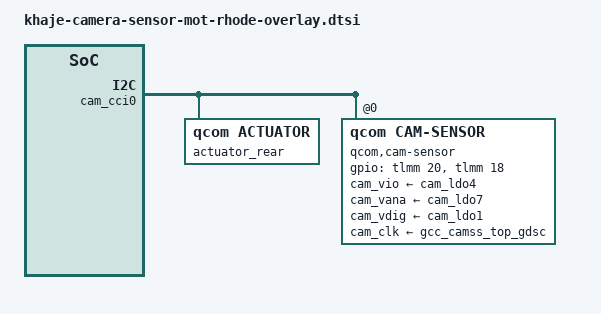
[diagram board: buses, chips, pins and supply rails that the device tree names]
#include <dt-bindings/clock/qcom,gcc-khaje.h>
#include <dt-bindings/msm/msm-camera.h>

&tlmm {
	cam_sensor_mclk0_active: cam_sensor_mclk0_active {
		/* MCLK 0*/
		mux {
			pins = "gpio20";
			function = "cam_mclk";
		};

		config {
			pins = "gpio20";
			bias-disable;
			drive-strength = <2>;
		};
	};

	cam_sensor_mclk0_suspend: cam_sensor_mclk0_suspend {
		/* MCLK 0*/
		mux {
			pins = "gpio20";
			function = "cam_mclk";
		};

		config {
			pins = "gpio20";
			bias-pull-down;
			drive-strength = <2>;
		};
	};

	cam_sensor_mclk1_active: cam_sensor_mclk1_active {
		mux {
			pins = "gpio21";
			function = "cam_mclk";
		};

		config {
			pins = "gpio21";
			bias-disable; /* No PULL */
			drive-strength = <2>; /* 2 MA */
		};
	};

	cam_sensor_mclk1_suspend: cam_sensor_mclk1_suspend {
		mux {
			pins = "gpio21";
			function = "cam_mclk";
		};

		config {
			pins = "gpio21";
			bias-pull-down;
			drive-strength = <2>; /* 2 MA */
		};
	};

	cam_sensor_mclk2_active: cam_sensor_mclk2_active {
		mux {
			pins = "gpio27";
			function = "cam_mclk";
		};

		config {
			pins = "gpio27";
			bias-disable;
			drive-strength = <2>;
		};
	};

	cam_sensor_mclk2_suspend: cam_sensor_mclk2_suspend {
		mux {
			pins = "gpio27";
			function = "cam_mclk";
		};

		config {
			pins = "gpio27";
			bias-pull-down;
			drive-strength = <2>;
		};
	};

	cam_sensor_mclk3_active: cam_sensor_mclk3_active {
		/* MCLK 3*/
		mux {
			pins = "gpio28";
			function = "cam_mclk";
		};

		config {
			pins = "gpio28";
			bias-disable;
			drive-strength = <2>;
		};
	};

	cam_sensor_mclk3_suspend: cam_sensor_mclk3_suspend {
		/* MCLK 3*/
		mux {
			pins = "gpio28";
			function = "cam_mclk";
		};

		config {
			pins = "gpio28";
			bias-pull-down;
			drive-strength = <2>;
		};
	};

	cam_sensor_rear0_reset_active: cam_sensor_rear0_reset_active {
		mux {
			pins = "gpio18";
			function = "gpio";
		};

		config {
			pins = "gpio18";
			bias-disable; /* No PULL */
			drive-strength = <2>;
		};
	};

	cam_sensor_rear0_reset_suspend: cam_sensor_rear0_reset_suspend {
		mux {
			pins = "gpio18";
			function = "gpio";
		};

		config {
			pins = "gpio18";
			bias-pull-down; /* PULL DOWN */
			drive-strength = <2>;
			output-low;
		};
	};

	cam_sensor_front_reset_active: cam_sensor_front_reset_active {
		mux {
			pins = "gpio24";
			function = "gpio";
		};

		config {
			pins = "gpio24";
			bias-disable; /* No PULL */
			drive-strength = <2>;
		};
	};

	cam_sensor_front_reset_suspend: cam_sensor_front_reset_suspend {
		mux {
			pins = "gpio24";
			function = "gpio";
		};

		config {
			pins = "gpio24";
			bias-pull-down; /* PULL DOWN */
			drive-strength = <2>;
			output-low;
		};
	};

	cam_sensor_rear_macro_reset_active: cam_sensor_rear_macro_reset_active {
		mux {
			pins = "gpio65" ,"gpio67";
			function = "gpio";
		};

		config {
			pins = "gpio65" ,"gpio67";
			bias-disable; /* No PULL */
			drive-strength = <2>; /* 2 MA */
		};
	};

	cam_sensor_rear_macro_reset_suspend: cam_sensor_rear_macro_reset_suspend {
		mux {
			pins = "gpio65" ,"gpio67";
			function = "gpio";
		};

		config {
			pins = "gpio65" ,"gpio67";
			bias-pull-down; /* PULL DOWN */
			drive-strength = <2>; /* 2 MA */
			output-low;
		};
	};


	cam_sensor_rear_wide_reset_active: cam_sensor_rear_wide_reset_active {
		mux {
			pins = "gpio19" ,"gpio67";
			function = "gpio";
		};

		config {
			pins = "gpio19" ,"gpio67";
			bias-disable; /* No PULL */
			drive-strength = <2>; /* 2 MA */
		};
	};

	cam_sensor_rear_wide_reset_suspend: cam_sensor_rear_wide_reset_suspend {
		mux {
			pins = "gpio19" ,"gpio67";
			function = "gpio";
		};

		config {
			pins = "gpio19" ,"gpio67";
			bias-pull-down; /* PULL DOWN */
			drive-strength = <2>; /* 2 MA */
			output-low;
		};
	};

	camera_dvdd_en_active: camera_dvdd_en_active {
		/* VDIG */
		mux {
			pins = "gpio2";
			function = "gpio";
		};

		config {
			pins = "gpio2";
			bias-disable; /* No PULL */
			drive-strength = <2>; /* 2 MA */
		};
	};

	camera_dvdd_en_suspend: camera_dvdd_en_suspend {
		/* VDIG */
		mux {
			pins = "gpio2";
			function = "gpio";
		};

		config {
			pins = "gpio2";
			bias-pull-down; /* PULL DOWN */
			drive-strength = <2>; /* 2 MA */
			output-low;
		};
	};
};

&soc {

	qcom,cam-res-mgr {
		compatible = "qcom,cam-res-mgr";
		status = "ok";
	};
};

&cam_cci0 {
	actuator_rear: qcom,actuator0 {
		cell-index = <0>;
		compatible = "qcom,actuator";
		cci-master = <0>;
		//cam_vaf-supply = <&cam_ldo3>;
		regulator-names = "cam_vaf";
		rgltr-cntrl-support;
		rgltr-min-voltage = <2800000>;
		rgltr-max-voltage = <2800000>;
		rgltr-load-current = <2800000>;
		status = "ok";
	};

	 /* main : JN1*/
	qcom,cam-sensor@0 {
		cell-index = <0>;
		compatible = "qcom,cam-sensor";
		csiphy-sd-index = <0>;
		sensor-position-roll = <90>;
		sensor-position-pitch = <0>;
		sensor-position-yaw = <180>;
		//led-flash-src = <&led_flash_rear>;
		//eeprom-src = <&eeprom_main>;
		//actuator-src = <&actuator_rear>;
		//cam_vaf-supply = <&cam_ldo3>;
		cam_vio-supply = <&cam_ldo4>;
		cam_vana-supply = <&cam_ldo7>;
		cam_vdig-supply = <&cam_ldo1>;
		cam_clk-supply = <&gcc_camss_top_gdsc>;
		regulator-names ="cam_vio", "cam_vana", "cam_vdig",
			"cam_clk";
		rgltr-cntrl-support;
		pwm-switch;
		rgltr-min-voltage = <1800000 2800000 1056000 0>;
		rgltr-max-voltage = <1800000 2800000 1056000 0>;
		rgltr-load-current = <1800000 2800000 1056000 0>;
		gpio-no-mux = <0>;
		pinctrl-names = "cam_default", "cam_suspend";
		pinctrl-0 = <&cam_sensor_mclk0_active
				&cam_sensor_rear0_reset_active>;
		pinctrl-1 = <&cam_sensor_mclk0_suspend
				&cam_sensor_rear0_reset_suspend>;
		gpios = <&tlmm 20 0>,
			<&tlmm 18 0>;
		gpio-reset = <1>;
		gpio-req-tbl-num = <0 1>;
		gpio-req-tbl-flags = <1 0>;
		gpio-req-tbl-label = "CAMIF_MCLK0",
					"CAM_RESET0";
		cci-master = <0>;
		status = "ok";
		clocks = <&gcc GCC_CAMSS_MCLK0_CLK>;
		clock-names = "cam_clk";
		clock-cntl-level = "turbo";
		clock-rates = <24000000>;
	};
};
